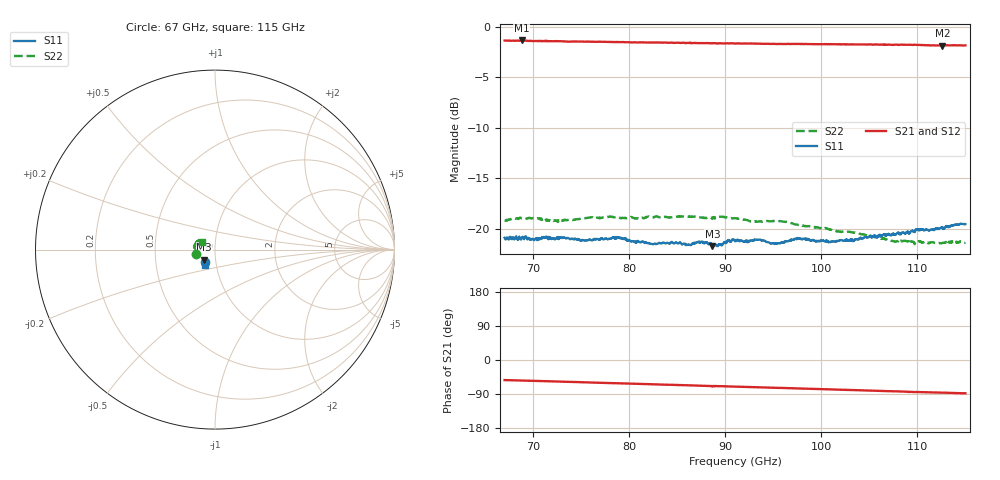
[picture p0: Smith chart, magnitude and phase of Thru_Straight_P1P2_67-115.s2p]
!Keysight Technologies,N5247B,MY61256062,A.16.20.04
!Date: Tuesday, November 18, 2025 05:53:03
!Correction: S11(C  2-Port  )
!S21(C  2-Port  )
!S12(C  2-Port  )
!S22(C  2-Port  )
!S2P File: Measurements: S11, S21, S12, S22:
# Hz S  dB  R 50
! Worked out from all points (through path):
!   1001 points, 67 GHz to 115 GHz, reference 50 ohm
!   highest |S21| = -1.38 dB at 68.78 GHz (marker M1); lowest = -1.9 dB at 112.6 GHz (marker M2)
!   group delay of S21, straight-line fit = 2.04 ps
!   lowest |S11| = -21.7 dB at 88.65 GHz (marker M3), VSWR 1.18, Z = 44 - j4.92 ohm
!   |S11| at or under -10 dB: start of sweep to end of sweep
!   |S22| runs from -21.5 to -18.8 dB; largest |S21 - S12| = 0.019
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6.7e10  -20.90 -127.6  -1.38 -53.0  -1.40 -52.7  -19.22 -167.9
6.8776e10  -20.94 -126.9  -1.38 -54.1  -1.38 -53.9  -18.99 -170.3
7.2568e10  -20.82 -129.5  -1.46 -56.9  -1.44 -56.7  -19.32 -175.1
7.5016e10  -21.14 -131.1  -1.49 -58.6  -1.47 -58.4  -18.97 -179.1
7.8904e10  -20.87 -133.9  -1.53 -61.5  -1.50 -61.3  -18.87 176.9
8.0488e10  -21.25 -135.1  -1.56 -62.5  -1.56 -62.4  -18.94 174.2
8.3032e10  -21.44 -133.3  -1.58 -64.5  -1.56 -64.3  -18.84 170.3
8.5048e10  -21.45 -134.0  -1.59 -66.0  -1.57 -65.7  -18.78 167.9
8.6152e10  -21.54 -133.4  -1.62 -66.7  -1.60 -66.5  -18.82 166.8
8.74e10  -21.37 -133.8  -1.64 -67.6  -1.64 -67.5  -18.88 165.3
8.8648e10  -21.72 -137.4  -1.66 -70.2  -1.64 -68.8  -19.02 168.3
8.9464e10  -21.59 -132.1  -1.65 -69.0  -1.64 -69.0  -18.82 163.3
9.1e10  -21.24 -132.1  -1.67 -70.3  -1.65 -70.0  -18.95 159.8
9.2104e10  -21.18 -132.1  -1.68 -71.1  -1.66 -70.8  -19.13 157.5
9.3448e10  -21.09 -132.8  -1.69 -72.1  -1.67 -71.9  -19.29 157.4
9.5032e10  -21.42 -132.6  -1.72 -73.3  -1.69 -73.1  -19.23 155.6
9.7528e10  -20.91 -131.5  -1.72 -75.0  -1.70 -74.8  -19.61 152.6
9.9016e10  -21.14 -132.1  -1.74 -76.1  -1.72 -75.9  -19.82 150.9
1.01128e11  -21.26 -129.9  -1.74 -77.7  -1.75 -77.4  -20.15 148.5
1.07032e11  -20.55 -126.9  -1.79 -82.3  -1.79 -81.9  -21.12 148.2
1.126e11  -19.93 -123.7  -1.88 -86.2  -1.84 -85.9  -21.41 149.9
1.15e11  -19.54 -123.6  -1.86 -87.8  -1.86 -87.7  -21.37 150.6
